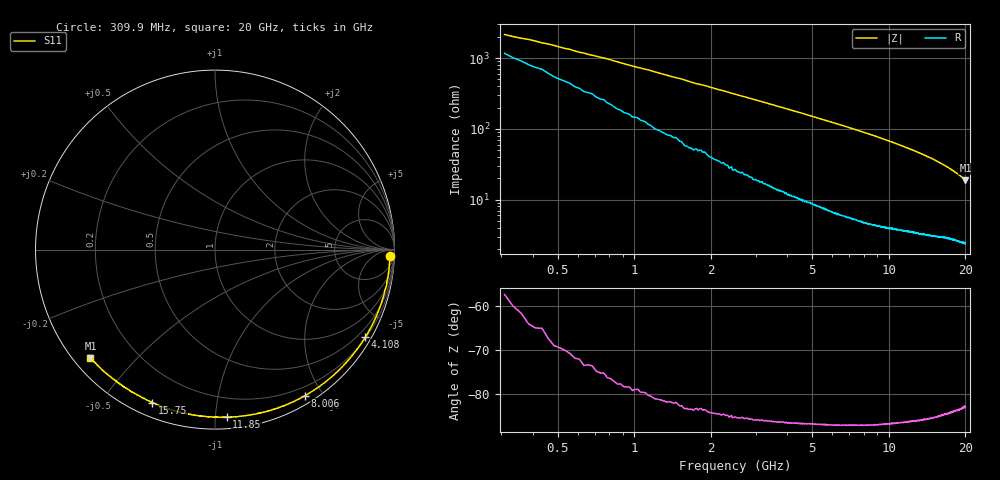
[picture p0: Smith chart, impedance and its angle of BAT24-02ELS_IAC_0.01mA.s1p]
! Infineon Technologies  Discrete & RF Semiconductors
! BAT24-02ELS
! IAC = 0.01 mA
! One-Port S-Parameters
# Hz  S  MA  R  50
!f  S11
!Hz  Mag  Ang
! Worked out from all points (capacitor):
!   789 points, 309.9 MHz to 20 GHz, reference 50 ohm
!   read as one part to ground: C = 226 fF near 384.8 MHz
!   lowest |Z| = 18.8 ohm at 20 GHz (marker M1)
!   S11 on the Smith chart (normalised r, x): 309.9 MHz: 23, -36; 4.108 GHz: 0.23, -3.70; 8.006 GHz: 0.09, -1.78; 11.85 GHz: 0.07, -1.07; 15.75 GHz: 0.06, -0.67; 20 GHz: 0.05, -0.37
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3.0985e8  0.9754 -2.2
8.59575e8  0.9762 -6.3
1.584212e9  0.9766 -11.6
2.783612e9  0.9723 -20.4
3.558225e9  0.9711 -26.1
4.10795e9  0.9693 -30.2
5.232388e9  0.9656 -38.4
6.056975e9  0.9638 -44.3
6.631688e9  0.9611 -48.6
7.70615e9  0.9567 -56.4
8.006e9  0.9562 -58.5
8.980512e9  0.9515 -65.6
1.015492e10  0.9443 -74.1
1.092954e10  0.9407 -79.5
1.185408e10  0.9359 -86.0
1.262869e10  0.9315 -91.4
1.32034e10  0.932 -94.9
1.375312e10  0.9263 -99.2
1.392804e10  0.9284 -100.0
1.417791e10  0.9255 -102.0
1.507746e10  0.9241 -107.6
1.575212e10  0.9211 -112.3
1.635182e10  0.9188 -116.0
1.692654e10  0.9177 -119.9
1.710145e10  0.9177 -120.9
1.755122e10  0.9172 -123.6
1.892554e10  0.9178 -132.4
2e10  0.9206 -138.9
